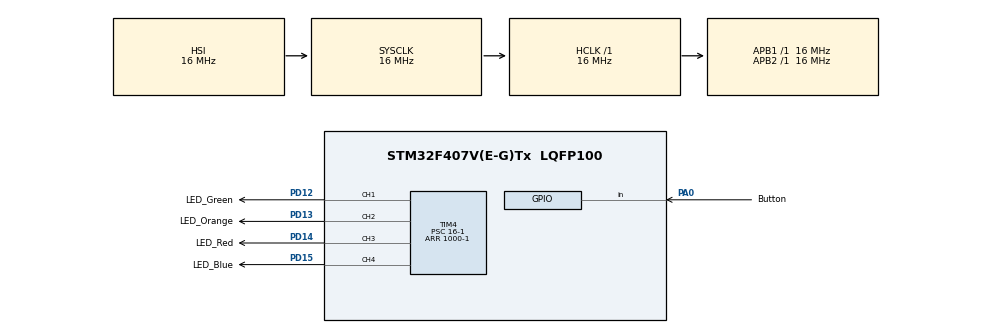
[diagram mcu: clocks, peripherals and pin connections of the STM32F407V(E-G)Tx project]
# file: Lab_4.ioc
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Mcu.Family=STM32F4
Mcu.Name=STM32F407V(E-G)Tx
Mcu.Package=LQFP100
NVIC.PriorityGroup=NVIC_PRIORITYGROUP_4
NVIC.TIM4_IRQn=true\:0\:0\:false\:false\:true\:true\:true\:true
PA0-WKUP.GPIO_Label=Button
PA0-WKUP.Signal=GPIO_Input
PA13.Mode=Serial_Wire
PA13.Signal=SYS_JTMS-SWDIO
PA14.Mode=Serial_Wire
PA14.Signal=SYS_JTCK-SWCLK
PD12.GPIO_Label=LED_Green
PD12.Signal=S_TIM4_CH1
PD13.GPIO_Label=LED_Orange
PD13.Signal=S_TIM4_CH2
PD14.GPIO_Label=LED_Red
PD14.Signal=S_TIM4_CH3
PD15.GPIO_Label=LED_Blue
PD15.Signal=S_TIM4_CH4
ProjectManager.HeapSize=0x200
ProjectManager.StackSize=0x400
ProjectManager.TargetToolchain=MDK-ARM V5.32
RCC.AHBFreq_Value=16000000
RCC.APB1Freq_Value=16000000
RCC.APB1TimFreq_Value=16000000
RCC.APB2Freq_Value=16000000
RCC.APB2TimFreq_Value=16000000
RCC.CortexFreq_Value=16000000
RCC.HCLKFreq_Value=16000000
RCC.HSE_VALUE=25000000
RCC.HSI_VALUE=16000000
RCC.LSE_VALUE=32768
RCC.SYSCLKFreq_VALUE=16000000
RCC.VCOOutputFreq_Value=192000000
SH.S_TIM4_CH1.0=TIM4_CH1,PWM Generation1 CH1
SH.S_TIM4_CH2.0=TIM4_CH2,PWM Generation2 CH2
SH.S_TIM4_CH3.0=TIM4_CH3,PWM Generation3 CH3
SH.S_TIM4_CH4.0=TIM4_CH4,PWM Generation4 CH4
TIM4.Channel-PWM\ Generation1\ CH1=TIM_CHANNEL_1
TIM4.Channel-PWM\ Generation2\ CH2=TIM_CHANNEL_2
TIM4.Channel-PWM\ Generation3\ CH3=TIM_CHANNEL_3
TIM4.Channel-PWM\ Generation4\ CH4=TIM_CHANNEL_4
TIM4.OC1Preload_PWM=ENABLE
TIM4.Period=1000-1
TIM4.Prescaler=16-1
TIM4.Pulse-PWM\ Generation1\ CH1=0
VP_TIM4_VS_ClockSourceINT.Mode=Internal
board=custom

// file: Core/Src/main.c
/* USER CODE BEGIN Header */
/**
  ******************************************************************************
  * @file           : main.c
  * @brief          : Main program body
  ******************************************************************************
  * @attention
  *
  * Copyright (c) 2022 STMicroelectronics.
  * All rights reserved.
  *
  * This software is licensed under terms that can be found in the LICENSE file
  * in the root directory of this software component.
  * If no LICENSE file comes with this software, it is provided AS-IS.
  *
  ******************************************************************************
  */
/* USER CODE END Header */
#include "main.h"
#include "tim.h"
#include "gpio.h"

/* USER CODE BEGIN PD */
	#define T0 0
	#define T1 125
	#define T2 500
	#define T3 625

	#define Shift_Second 125
	#define Shift_Third 250
	#define Shift_Fourth 375

	#define Cycle_Length 1000
	#define Max_PWM 1000
	#define Min_PWM 0

/* USER CODE END PD */

/* USER CODE BEGIN PV */
	uint16_t steps_first[1000] = {0};
	uint16_t Steps_Second[1000] = {0};
	uint16_t Steps_Third[1000] = {0};
	uint16_t Steps_Fourth[1000] = {0};

	uint16_t index = 0;
	uint16_t coefficient = 0;

	GPIO_PinState button_state = GPIO_PIN_RESET;
/* USER CODE END PV */

void SystemClock_Config(void);

int main(void)
{

  /* MCU Configuration--------------------------------------------------------*/

  /* Reset of all peripherals, Initializes the Flash interface and the Systick. */
  HAL_Init();

  /* Configure the system clock */
  SystemClock_Config();

  /* Initialize all configured peripherals */
  MX_GPIO_Init();
  MX_TIM4_Init();
  /* USER CODE BEGIN 2 */
	HAL_TIM_Base_Start_IT(&htim4);
	HAL_TIM_PWM_Start(&htim4, TIM_CHANNEL_1);
	HAL_TIM_PWM_Start(&htim4, TIM_CHANNEL_2);
	HAL_TIM_PWM_Start(&htim4, TIM_CHANNEL_3);
	HAL_TIM_PWM_Start(&htim4, TIM_CHANNEL_4);

	coefficient = (Max_PWM - Min_PWM)/(T1 - T0);
	for(int i = T0; i < Cycle_Length; i++)
		{
			if(i < T1)
				{
					steps_first[i] = i * coefficient;
				}
				else if (i < T2)
					{
					steps_first[i] = Max_PWM;
					}

				else if(i < T3)
					{
						steps_first[i] = Max_PWM - (i - T2) * (coefficient);
					}

				else
					{
						steps_first[i] = Min_PWM;
					}
		}

	for (int i = 0; i < Cycle_Length; i++)
		{
			int j = i + Shift_Second;
			if (j >= Cycle_Length) j = j - 1000;
			Steps_Second[j] = steps_first[i];

			j = i + Shift_Third;
			if (j >= Cycle_Length) j = j - 1000;
			Steps_Third[j] = steps_first[i];

			j = i + Shift_Fourth;
			if (j >= Cycle_Length) j = j - 1000;
			Steps_Fourth[j] = steps_first[i];
		}

  /* USER CODE END 2 */

  /* Infinite loop */
  while (1)
  {

  }
}

void SystemClock_Config(void)
{
  RCC_OscInitTypeDef RCC_OscInitStruct = {0};
  RCC_ClkInitTypeDef RCC_ClkInitStruct = {0};

  /** Configure the main internal regulator output voltage
  */
  __HAL_RCC_PWR_CLK_ENABLE();
  __HAL_PWR_VOLTAGESCALING_CONFIG(PWR_REGULATOR_VOLTAGE_SCALE1);

  /** Initializes the RCC Oscillators according to the specified parameters
  * in the RCC_OscInitTypeDef structure.
  */
  RCC_OscInitStruct.OscillatorType = RCC_OSCILLATORTYPE_HSI;
  RCC_OscInitStruct.HSIState = RCC_HSI_ON;
  RCC_OscInitStruct.HSICalibrationValue = RCC_HSICALIBRATION_DEFAULT;
  RCC_OscInitStruct.PLL.PLLState = RCC_PLL_NONE;
  if (HAL_RCC_OscConfig(&RCC_OscInitStruct) != HAL_OK)
  {
    Error_Handler();
  }

  /** Initializes the CPU, AHB and APB buses clocks
  */
  RCC_ClkInitStruct.ClockType = RCC_CLOCKTYPE_HCLK|RCC_CLOCKTYPE_SYSCLK
                              |RCC_CLOCKTYPE_PCLK1|RCC_CLOCKTYPE_PCLK2;
  RCC_ClkInitStruct.SYSCLKSource = RCC_SYSCLKSOURCE_HSI;
  RCC_ClkInitStruct.AHBCLKDivider = RCC_SYSCLK_DIV1;
  RCC_ClkInitStruct.APB1CLKDivider = RCC_HCLK_DIV1;
  RCC_ClkInitStruct.APB2CLKDivider = RCC_HCLK_DIV1;

  if (HAL_RCC_ClockConfig(&RCC_ClkInitStruct, FLASH_LATENCY_0) != HAL_OK)
  {
    Error_Handler();
  }
}

/* USER CODE BEGIN 4 */
void HAL_TIM_PeriodElapsedCallback(TIM_HandleTypeDef *htim)
{
	button_state = HAL_GPIO_ReadPin(Button_GPIO_Port, Button_Pin); //Check if button is pressed
	if (button_state == GPIO_PIN_SET)
	{

	__HAL_TIM_SET_COMPARE(&htim4, TIM_CHANNEL_1, Steps_Third[index]);  //Green - 3
  __HAL_TIM_SET_COMPARE(&htim4, TIM_CHANNEL_2, Steps_Second[index]); //Orange - 2
  __HAL_TIM_SET_COMPARE(&htim4, TIM_CHANNEL_3, steps_first[index]);  //Red - 1
  __HAL_TIM_SET_COMPARE(&htim4, TIM_CHANNEL_4, Steps_Fourth[index]); //Blue - 4

	}
	else
	{

	__HAL_TIM_SET_COMPARE(&htim4, TIM_CHANNEL_1, Steps_Second[index]); //Green - 2
  __HAL_TIM_SET_COMPARE(&htim4, TIM_CHANNEL_2, Steps_Third[index]);  //Orange - 3
  __HAL_TIM_SET_COMPARE(&htim4, TIM_CHANNEL_3, Steps_Fourth[index]); //Red - 4
  __HAL_TIM_SET_COMPARE(&htim4, TIM_CHANNEL_4, steps_first[index]);  //Blue - 1

	}

	index ++;
	if (index == 1000) index = 0;
}

/* USER CODE END 4 */

void Error_Handler(void)
{
  __disable_irq();
  while (1)
  {
  }
}
